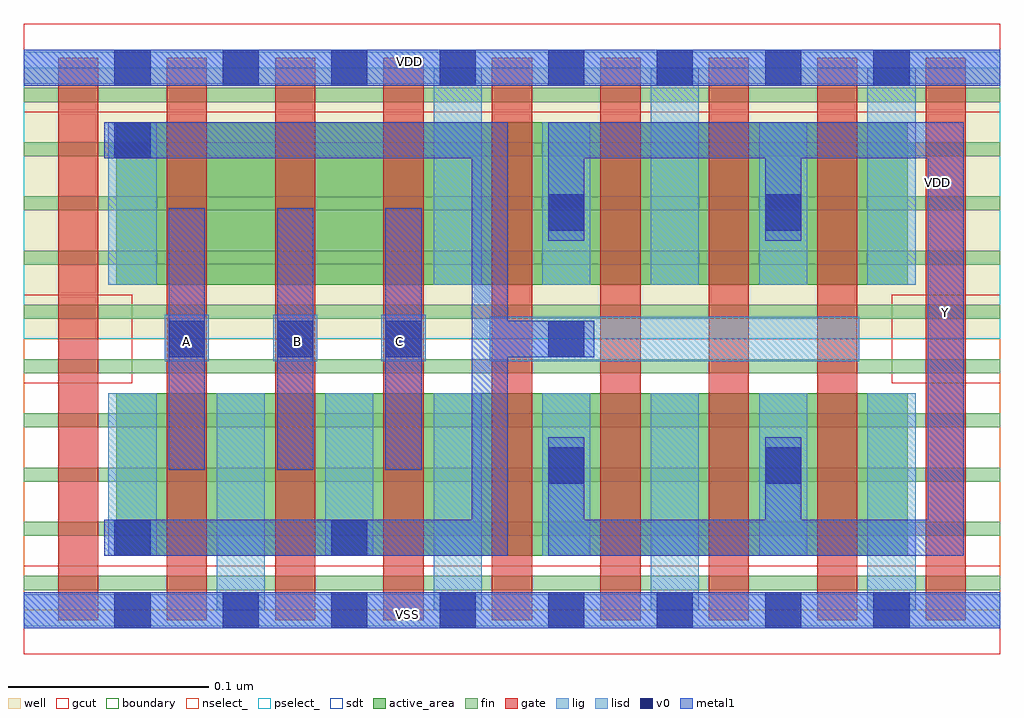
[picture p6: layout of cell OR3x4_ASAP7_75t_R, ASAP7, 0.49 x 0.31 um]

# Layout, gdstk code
import gdstk
lib = gdstk.Library(unit=1e-6, precision=1e-09)
def R(c, l, rs):  # rectangles x0, y0, x1, y1
    for r in rs: c.add(gdstk.rectangle(r[:2], r[2:], *l))
def A(c, l, x, y, w, h, nx, ny, dx, dy):  # array of equal rectangles
    R(c, l, [(x+i*dx, y+j*dy, x+i*dx+w, y+j*dy+h) for i in range(nx) for j in range(ny)])
def P(c, l, *ps):  # polygons
    for p in ps: c.add(gdstk.Polygon(p, *l))
well = (1, 0)
fin = (2, 0)
gate = (7, 0)
gcut = (10, 0)
active_area = (11, 0)
nselect_ = (12, 0)
pselect_ = (13, 0)
lig = (16, 0)
lisd = (17, 0)
v0 = (18, 0)
metal1 = (19, 0)
sdt = (88, 0)
boundary = (100, 0)

or3x4_asap7_75t_r = lib.new_cell('OR3x4_ASAP7_75t_R')
R(or3x4_asap7_75t_r, well, [(0,0.135,0.486,0.27)])
A(or3x4_asap7_75t_r, fin, 0, 0.01, 0.486, 0.007, 1, 10, 0, 0.027)
A(or3x4_asap7_75t_r, gate, 0.017, -0.005, 0.02, 0.28, 9, 1, 0.054, 0)
R(or3x4_asap7_75t_r, gcut, [(0,-0.022,0.486,0.022), (0,0.113,0.054,0.157), (0.432,0.113,0.486,0.157), (0,0.248,0.486,0.292)])
R(or3x4_asap7_75t_r, active_area, [(0.046,0.027,0.44,0.108), (0.046,0.162,0.44,0.243)])
R(or3x4_asap7_75t_r, nselect_, [(0,0,0.486,0.135)])
R(or3x4_asap7_75t_r, pselect_, [(0,0.135,0.486,0.27)])
A(or3x4_asap7_75t_r, lig, 0.07, 0.124, 0.022, 0.023, 3, 1, 0.054, 0)
R(or3x4_asap7_75t_r, lig, [(0,-0.008,0.486,0.008), (0.232,0.124,0.416,0.146), (0,0.262,0.486,0.278)])
A(or3x4_asap7_75t_r, lisd, 0.096, 0, 0.024, 0.108, 4, 1, 0.108, 0)
A(or3x4_asap7_75t_r, lisd, 0.042, 0.027, 0.024, 0.081, 4, 1, 0.108, 0)
A(or3x4_asap7_75t_r, lisd, 0.204, 0.162, 0.024, 0.108, 3, 1, 0.108, 0)
R(or3x4_asap7_75t_r, lisd, [(0.042,0.162,0.066,0.243), (0.258,0.162,0.282,0.243), (0.366,0.162,0.39,0.243)])
A(or3x4_asap7_75t_r, v0, 0.045, -0.009, 0.018, 0.018, 8, 2, 0.054, 0.27)
A(or3x4_asap7_75t_r, v0, 0.261, 0.063, 0.018, 0.018, 1, 3, 0, 0.063)
A(or3x4_asap7_75t_r, v0, 0.072, 0.126, 0.018, 0.018, 3, 1, 0.054, 0)
R(or3x4_asap7_75t_r, v0, [(0.045,0.027,0.063,0.045), (0.153,0.027,0.171,0.045), (0.369,0.063,0.387,0.081), (0.369,0.189,0.387,0.207), (0.045,0.225,0.063,0.243)])
A(or3x4_asap7_75t_r, metal1, 0.072, 0.07, 0.018, 0.13, 3, 1, 0.054, 0)
R(or3x4_asap7_75t_r, metal1, [(0,-0.009,0.486,0.009), (0,0.261,0.486,0.279)])
P(or3x4_asap7_75t_r, metal1, [(0.04,0.027),(0.04,0.045),(0.223,0.045),(0.223,0.225),(0.04,0.225),(0.04,0.243),(0.241,0.243),(0.241,0.144),(0.284,0.144),(0.284,0.126),(0.241,0.126),(0.241,0.027)],
  [(0.261,0.027),(0.261,0.086),(0.279,0.086),(0.279,0.045),(0.369,0.045),(0.369,0.086),(0.387,0.086),(0.387,0.045),(0.45,0.045),(0.45,0.225),(0.387,0.225),(0.387,0.184),(0.369,0.184),(0.369,0.225),(0.279,0.225),(0.279,0.184),(0.261,0.184),(0.261,0.243),(0.468,0.243),(0.468,0.027)])
A(or3x4_asap7_75t_r, sdt, 0.042, 0.027, 0.024, 0.081, 8, 1, 0.054, 0)
A(or3x4_asap7_75t_r, sdt, 0.204, 0.162, 0.024, 0.081, 5, 1, 0.054, 0)
R(or3x4_asap7_75t_r, sdt, [(0.042,0.162,0.066,0.243)])
R(or3x4_asap7_75t_r, boundary, [(0,0,0.486,0.27)])
or3x4_asap7_75t_r.add(gdstk.Label('Y', (0.459,0.148), layer=19, texttype=251))
or3x4_asap7_75t_r.add(gdstk.Label('C', (0.187,0.134), layer=19, texttype=251))
or3x4_asap7_75t_r.add(gdstk.Label('VSS', (0.191,-0.002), layer=19, texttype=251))
or3x4_asap7_75t_r.add(gdstk.Label('VDD', (0.192,0.273), layer=19, texttype=251))
or3x4_asap7_75t_r.add(gdstk.Label('A', (0.081,0.134), layer=19, texttype=251))
or3x4_asap7_75t_r.add(gdstk.Label('B', (0.136,0.134), layer=19, texttype=251))
or3x4_asap7_75t_r.add(gdstk.Label('VDD', (0.455,0.213), layer=1, texttype=251))
or3x4_asap7_75t_r.add(gdstk.Label('VSS', (0.524,0.212), layer=3, texttype=251))

lib.write_gds('OR3x4_ASAP7_75t_R.gds')
